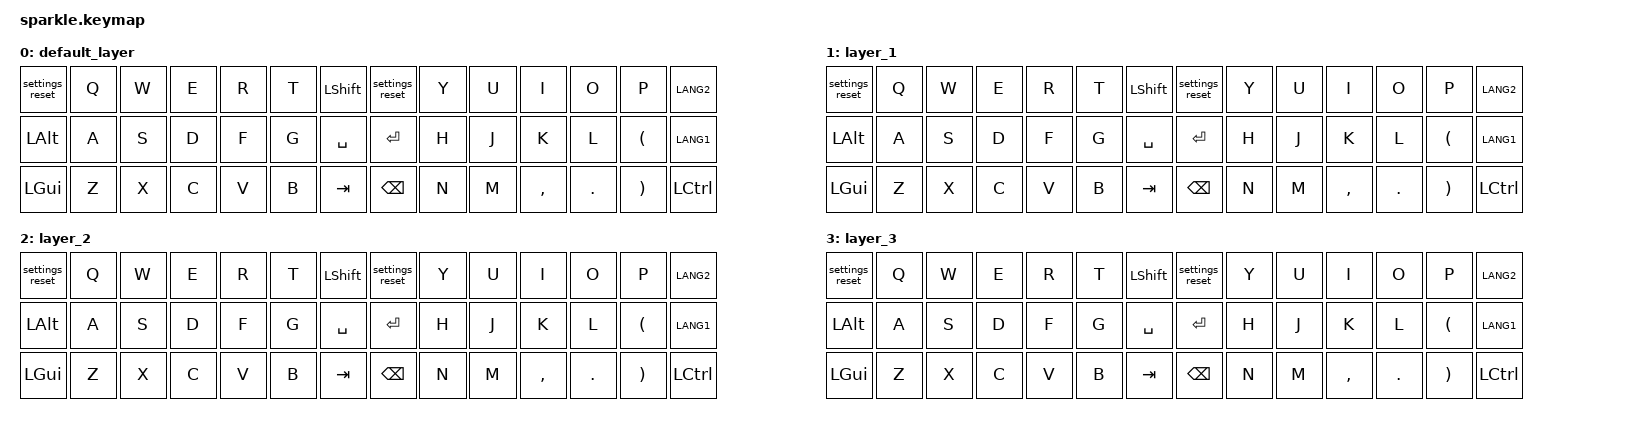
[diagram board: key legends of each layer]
#include <behaviors.dtsi>
#include <dt-bindings/zmk/keys.h>

/ {
  behaviors {
    settings_reset: settings_reset {
      compatible = "zmk,behavior-reset-settings";
      label = "RESET_SETTINGS";
    };

    keymap {
        compatible = "zmk,keymap";
        layout = <&physical_layout0>;

        default_layer {
            bindings = <
                &settings_reset  &kp Q     &kp W     &kp E     &kp R     &kp T     &kp LSHIFT    &settings_reset   &kp Y     &kp U     &kp I     &kp O     &kp P      &kp LANG2
                &kp LALT    &kp A     &kp S     &kp D     &kp F     &kp G     &kp SPACE     &kp ENTER    &kp H     &kp J     &kp K     &kp L     &kp LPAR   &kp LANG1
                &kp LGUI    &kp Z     &kp X     &kp C     &kp V     &kp B     &kp TAB       &kp BSPC     &kp N     &kp M     &kp COMMA &kp DOT   &kp RPAR   &kp LCTRL
            >;
        };

        layer_1 {
            bindings = <
                &settings_reset  &kp Q     &kp W     &kp E     &kp R     &kp T     &kp LSHIFT    &settings_reset   &kp Y     &kp U     &kp I     &kp O     &kp P      &kp LANG2
                &kp LALT    &kp A     &kp S     &kp D     &kp F     &kp G     &kp SPACE     &kp ENTER    &kp H     &kp J     &kp K     &kp L     &kp LPAR   &kp LANG1
                &kp LGUI    &kp Z     &kp X     &kp C     &kp V     &kp B     &kp TAB       &kp BSPC     &kp N     &kp M     &kp COMMA &kp DOT   &kp RPAR   &kp LCTRL
            >;
        };

        layer_2 {
            bindings = <
                &settings_reset  &kp Q     &kp W     &kp E     &kp R     &kp T     &kp LSHIFT    &settings_reset   &kp Y     &kp U     &kp I     &kp O     &kp P      &kp LANG2
                &kp LALT    &kp A     &kp S     &kp D     &kp F     &kp G     &kp SPACE     &kp ENTER    &kp H     &kp J     &kp K     &kp L     &kp LPAR   &kp LANG1
                &kp LGUI    &kp Z     &kp X     &kp C     &kp V     &kp B     &kp TAB       &kp BSPC     &kp N     &kp M     &kp COMMA &kp DOT   &kp RPAR   &kp LCTRL
            >;
        };

        layer_3 {
            bindings = <
                &settings_reset  &kp Q     &kp W     &kp E     &kp R     &kp T     &kp LSHIFT    &settings_reset   &kp Y     &kp U     &kp I     &kp O     &kp P      &kp LANG2
                &kp LALT    &kp A     &kp S     &kp D     &kp F     &kp G     &kp SPACE     &kp ENTER    &kp H     &kp J     &kp K     &kp L     &kp LPAR   &kp LANG1
                &kp LGUI    &kp Z     &kp X     &kp C     &kp V     &kp B     &kp TAB       &kp BSPC     &kp N     &kp M     &kp COMMA &kp DOT   &kp RPAR   &kp LCTRL
            >;
        };
    };
};
